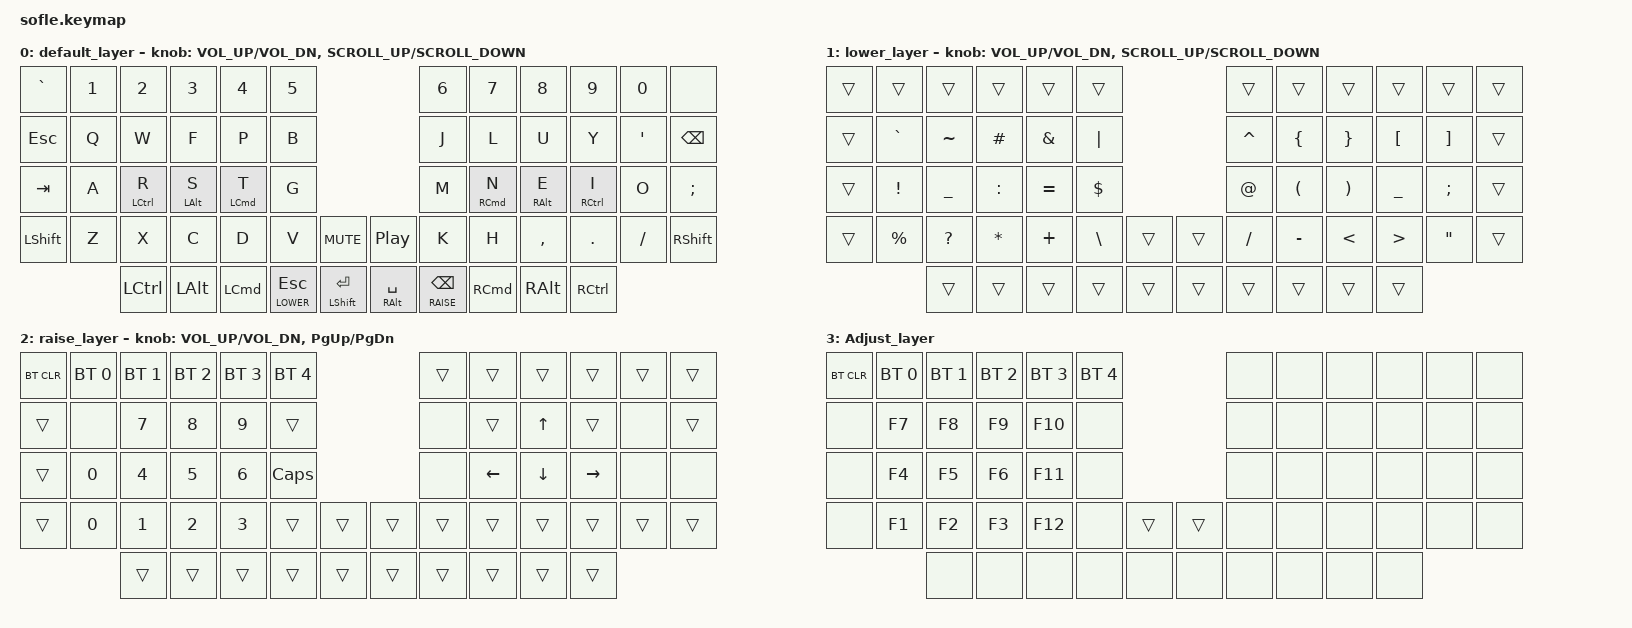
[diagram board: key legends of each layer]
/*
 * Copyright (c) 2020 The ZMK Contributors
 *
 * SPDX-License-Identifier: MIT
 */

#include <behaviors.dtsi>
#include <dt-bindings/zmk/bt.h>
#include <dt-bindings/zmk/keys.h>

#define BASE 0
#define LOWER 1
#define RAISE 2
#define ADJUST 3

/ {
    behaviors {
        hml: hml {
            compatible = "zmk,behavior-hold-tap";
            label = "HML";
            bindings = <&kp>, <&kp>;

            #binding-cells = <2>;
            hold-trigger-key-positions = <6 7 8 9 10 11 18 19 20 21 22 23 30 31 32 33 34 35 43 44 45 46 47 48 49 55 56 57 58 59 54 53 42 28 27 26 52 50 51 25>;
            flavor = "tap-preferred";
            tapping-term-ms = <200>;
            quick-tap-ms = <125>;
            require-prior-idle-ms = <125>;
        };

        hmr: hmr {
            compatible = "zmk,behavior-hold-tap";
            label = "HMR";
            bindings = <&kp>, <&kp>;

            #binding-cells = <2>;
            flavor = "tap-preferred";
            tapping-term-ms = <200>;
            hold-trigger-key-positions = <1 2 3 4 5 13 14 15 16 17 38 39 40 41 37 26 27 28 29 25 0 1 2 3 4 5 12 13 14 15 16 17 24 25 26 27 28 29 36 37 38 39 40 41 42 50 51 52 53 54 55 56 43 57 58 59 31 33 32 34>;
            quick-tap-ms = <125>;
            require-prior-idle-ms = <125>;
        };

        ht: ht {
            compatible = "zmk,behavior-hold-tap";
            label = "hold tap";
            bindings = <&kp>, <&kp>;

            #binding-cells = <2>;
            tapping-term-ms = <250>;
            flavor = "balanced";
            quick-tap-ms = <200>;
        };

        htl: htl {
            compatible = "zmk,behavior-hold-tap";
            label = "hold tap layer";
            bindings = <&mo>, <&kp>;

            #binding-cells = <2>;
            tapping-term-ms = <300>;
            quick-tap-ms = <200>;
            flavor = "hold-preferred";
        };
    };

    // Activate ADJUST layer by pressing raise and lower

    conditional_layers {
        compatible = "zmk,conditional-layers";

        adjust_layer {
            if-layers = <LOWER RAISE>;
            then-layer = <ADJUST>;
        };
    };

    keymap {
        compatible = "zmk,keymap";

        default_layer {
            // ------------------------------------------------------------------------------------------------------------
            // |  `    |  1  |  2  |  3   |  4   |  5   |                   |  6   |  7    |  8    |  9   |   0   |       |
            // |  ESC  |  Q  |  W  |  F   |  P   |  B   |                   |  J   |  L    |  U    |  Y   |   '   | BKSPC |
            // |  TAB  |  A  |  R  |  S   |  T   |  G   |                   |  M   |  N    |  E    |  I   |   O   |   ;   |
            // | SHIFT |  Z  |  X  |  C   |  D   |  V   |  MUTE  |  |       |  K   |  H    |  ,    |  .   |   /   | SHIFT |
            //               | GUI | ALT  | CTRL | LOWER|  ENTER |  | SPACE | RAISE| CTRL  | ALT   | GUI  |

            bindings = <
&kp GRAVE  &kp N1  &kp N2            &kp N3       &kp N4       &kp N5                                                 &kp N6                &kp N7       &kp N8       &kp N9             &kp N0    &none
&kp ESC    &kp Q   &kp W             &kp F        &kp P        &kp B                                                  &kp J                 &kp L        &kp U        &kp Y              &kp SQT   &kp BSPC
&kp TAB    &kp A   &hml LCTRL R      &hml LALT S  &hml LCMD T  &kp G                                                  &kp M                 &hmr RCMD N  &hmr RALT E  &hmr RCTRL I       &kp O     &kp SEMI
&kp LSHFT  &kp Z   &kp X             &kp C        &kp D        &kp V           &kp C_MUTE           &kp C_PLAY_PAUSE  &kp K                 &kp H        &kp COMMA    &kp DOT            &kp FSLH  &kp RSHFT
                   &kp LEFT_CONTROL  &kp LALT     &kp LCMD     &htl LOWER ESC  &ht LSHIFT RETURN    &ht RALT SPACE    &htl RAISE BACKSPACE  &kp RCMD     &kp RALT     &kp RIGHT_CONTROL
            >;

            sensor-bindings =
                <&inc_dec_kp C_VOL_UP C_VOL_DN>,
                <&inc_dec_kp K_SCROLL_UP K_SCROLL_DOWN>;
        };

        lower_layer {
            // TODO: Some binds are waiting for shifted keycode support.
            // ------------------------------------------------------------------------------------------------------------
            // |       |  1  |  2  |  3   |  4   |  5   |                   |  6   |   7   |   8   |  9   |   0   |       |
            // |       |  `  |  ~  |  #   |  &   |  |   |                   |  ^   |   {   |   }   |  [   |   ]   |       |
            // |       |  !  |  _  |  :   |  =   |  $   |                   |  @   |   (   |   )   |  _   |   ;   |       |
            // |       |  %  |  ?  |  *   |  +   |  \   |        |  |       |  /   |  -    |   <   |  >   |   "   |       |
            //               |     |      |      |      |        |  |       |      |       |       |      |

            bindings = <
&trans  &trans     &trans     &trans     &trans     &trans                      &trans     &trans     &trans    &trans     &trans    &trans
&trans  &kp GRAVE  &kp TILDE  &kp HASH   &kp AMPS   &kp PIPE                    &kp CARET  &kp LBRC   &kp RBRC  &kp LBKT   &kp RBKT  &trans
&trans  &kp EXCL   &kp UNDER  &kp COLON  &kp EQUAL  &kp DLLR                    &kp AT     &kp LPAR   &kp RPAR  &kp UNDER  &kp SEMI  &trans
&trans  &kp PRCNT  &kp QMARK  &kp STAR   &kp PLUS   &kp BSLH  &trans    &trans  &kp FSLH   &kp MINUS  &kp LT    &kp GT     &kp DQT   &trans
                   &trans     &trans     &trans     &trans    &trans    &trans  &trans     &trans     &trans    &trans
            >;

            sensor-bindings =
                <&inc_dec_kp C_VOL_UP C_VOL_DN>,
                <&inc_dec_kp K_SCROLL_UP K_SCROLL_DOWN>;
        };

        raise_layer {
            // ------------------------------------------------------------------------------------------------------------
            // |BTCLR| BT1  | BT2  |  BT3  |  BT4  |  BT5 |                |      |      |       |      |       |       |
            // |     | INS  | PSCR | GUI   |       |      |                | PGUP |      |   ^   |      |       |       |
            // |     | ALT  | CTRL | SHIFT |       | CAPS |                | PGDN |   <- |   v   |  ->  |  DEL  | BKSPC |
            // |     | UNDO | CUT  | COPY  | PASTE |      |      |  |      |      |      |       |      |       |       |
            //              |      |       |       |      |      |  |      |      |      |       |      |

            bindings = <
&bt BT_CLR  &bt BT_SEL 0  &bt BT_SEL 1  &bt BT_SEL 2  &bt BT_SEL 3  &bt BT_SEL 4                    &trans  &trans    &trans    &trans     &trans  &trans
&trans      &none         &kp N7        &kp N8        &kp N9        &trans                          &none   &trans    &kp UP    &trans     &none   &trans
&trans      &kp N0        &kp NUMBER_4  &kp N5        &kp NUMBER_6  &kp CLCK                        &none   &kp LEFT  &kp DOWN  &kp RIGHT  &none   &none
&trans      &kp N0        &kp NUMBER_1  &kp NUMBER_2  &kp NUMBER_3  &trans        &trans    &trans  &trans  &trans    &trans    &trans     &trans  &trans
                          &trans        &trans        &trans        &trans        &trans    &trans  &trans  &trans    &trans    &trans
            >;

            sensor-bindings = <&inc_dec_kp C_VOL_UP C_VOL_DN &inc_dec_kp PG_UP PG_DN>;
        };

        // ------------------------------------------------------------------------------------------------------------
        // |BTCLR | BT1   | BT2   |  BT3  |  BT4  |  BT5  |                |      |      |       |      |       |       |
        // |EXTPWR|RGB_HUD|RGB_HUI|RGB_SAD|RGB_SAI|RGB_EFF|                |      |      |       |      |       |       |
        // |      |RGB_BRD|RGB_BRI|       |       |       |                |      |      |       |      |       |       |
        // |      |       |       |       |       |       |RGB_TOG| |      |      |      |       |      |       |       |
        //                |       |       |       |       |       | |      |      |      |       |      |

        Adjust_layer {
            bindings = <
&bt BT_CLR  &bt BT_SEL 0  &bt BT_SEL 1  &bt BT_SEL 2  &bt BT_SEL 3  &bt BT_SEL 4                    &none  &none  &none  &none  &none  &none
&none       &kp F7        &kp F8        &kp F9        &kp F10       &none                           &none  &none  &none  &none  &none  &none
&none       &kp F4        &kp F5        &kp F6        &kp F11       &none                           &none  &none  &none  &none  &none  &none
&none       &kp F1        &kp F2        &kp F3        &kp F12       &none         &trans    &trans  &none  &none  &none  &none  &none  &none
                          &none         &none         &none         &none         &none     &none   &none  &none  &none  &none
            >;
        };
    };
};
